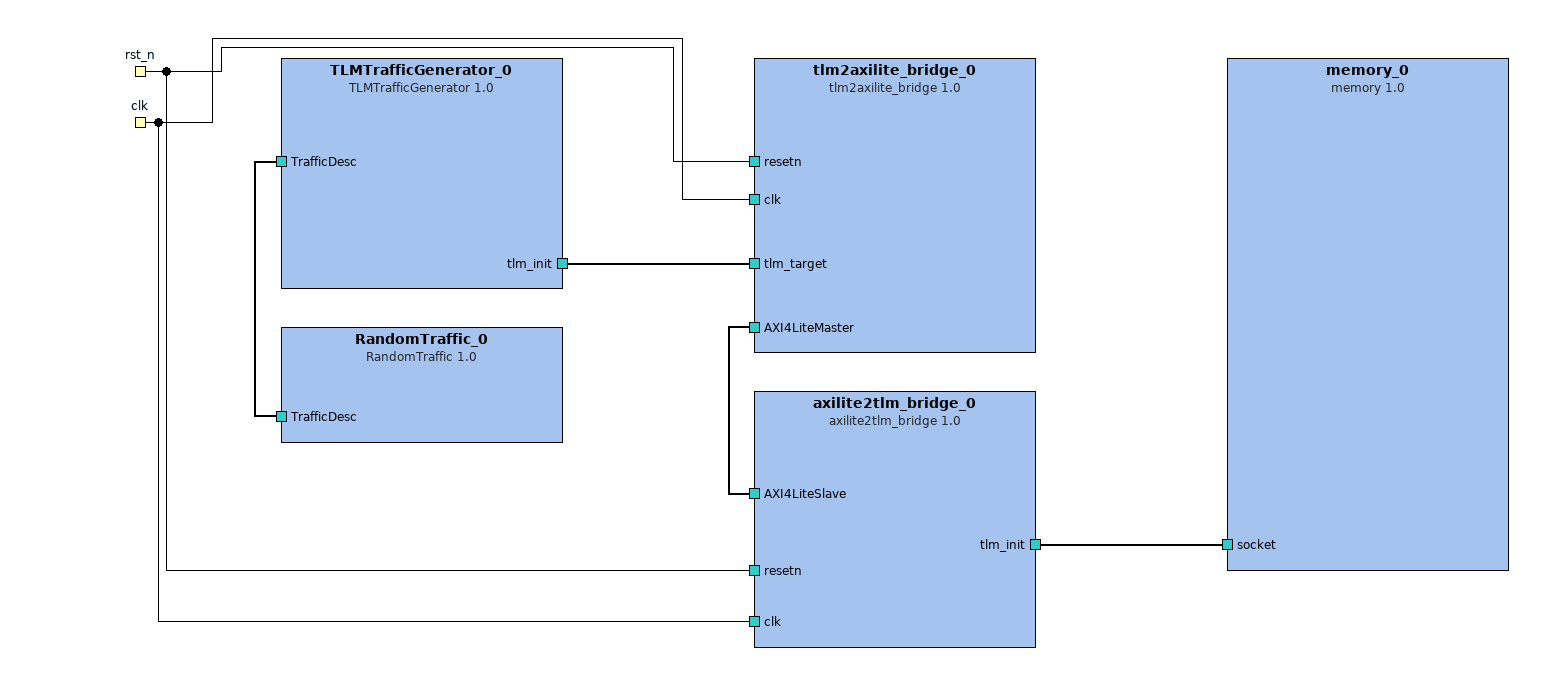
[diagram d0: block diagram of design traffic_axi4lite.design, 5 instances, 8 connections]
<?xml version="1.0" encoding="UTF-8"?>
<!-- // Copyright (c) 2019 Xilinx Inc.
// Written by Francisco Iglesias.
//
// Permission is hereby granted, free of charge, to any person obtaining a copy
// of this software and associated documentation files (the "Software"), to deal
// in the Software without restriction, including without limitation the rights
// to use, copy, modify, merge, publish, distribute, sublicense, and/or sell
// copies of the Software, and to permit persons to whom the Software is
// furnished to do so, subject to the following conditions:
//
// The above copyright notice and this permission notice shall be included in
// all copies or substantial portions of the Software.
//
// THE SOFTWARE IS PROVIDED "AS IS", WITHOUT WARRANTY OF ANY KIND, EXPRESS OR
// IMPLIED, INCLUDING BUT NOT LIMITED TO THE WARRANTIES OF MERCHANTABILITY,
// FITNESS FOR A PARTICULAR PURPOSE AND NONINFRINGEMENT. IN NO EVENT SHALL
// THE AUTHORS OR COPYRIGHT HOLDERS BE LIABLE FOR ANY CLAIM, DAMAGES OR OTHER
// LIABILITY, WHETHER IN AN ACTION OF CONTRACT, TORT OR OTHERWISE, ARISING FROM,
// OUT OF OR IN CONNECTION WITH THE SOFTWARE OR THE USE OR OTHER DEALINGS IN
// THE SOFTWARE. -->
<ipxact:design xmlns:xsi="http://www.w3.org/2001/XMLSchema-instance" xmlns:ipxact="http://www.accellera.org/XMLSchema/IPXACT/1685-2014" xmlns:kactus2="http://kactus2.cs.tut.fi" xsi:schemaLocation="http://www.accellera.org/XMLSchema/IPXACT/1685-2014 http://www.accellera.org/XMLSchema/IPXACT/1685-2014/index.xsd"><ipxact:vendor>xilinx.com</ipxact:vendor><ipxact:library>examples</ipxact:library><ipxact:name>traffic_axi4lite.design</ipxact:name>
 <ipxact:version>1.0</ipxact:version><ipxact:componentInstances>
 <ipxact:componentInstance><ipxact:instanceName>TLMTrafficGenerator_0</ipxact:instanceName><ipxact:componentRef vendor="xilinx.com" library="libsystemctlm-soc" name="TLMTrafficGenerator" version="1.0"/></ipxact:componentInstance>
 <ipxact:componentInstance><ipxact:instanceName>RandomTraffic_0</ipxact:instanceName><ipxact:componentRef vendor="xilinx.com" library="libsystemctlm-soc" name="RandomTraffic" version="1.0"/></ipxact:componentInstance>
 <ipxact:componentInstance><ipxact:instanceName>axilite2tlm_bridge_0</ipxact:instanceName>
  <ipxact:componentRef vendor="xilinx.com" library="libsystemctlm-soc" name="axilite2tlm_bridge" version="1.0"><ipxact:configurableElementValues><ipxact:configurableElementValue referenceId="ADDR_WIDTH">4</ipxact:configurableElementValue><ipxact:configurableElementValue referenceId="DATA_WIDTH">32</ipxact:configurableElementValue></ipxact:configurableElementValues></ipxact:componentRef>
 </ipxact:componentInstance>
 <ipxact:componentInstance><ipxact:instanceName>tlm2axilite_bridge_0</ipxact:instanceName>
  <ipxact:componentRef vendor="xilinx.com" library="libsystemctlm-soc" name="tlm2axilite_bridge" version="1.0"><ipxact:configurableElementValues><ipxact:configurableElementValue referenceId="ADDR_WIDTH">4</ipxact:configurableElementValue><ipxact:configurableElementValue referenceId="DATA_WIDTH">32</ipxact:configurableElementValue></ipxact:configurableElementValues></ipxact:componentRef>
 </ipxact:componentInstance>
 <ipxact:componentInstance><ipxact:instanceName>memory_0</ipxact:instanceName><ipxact:componentRef vendor="xilinx.com" library="libsystemctlm-soc" name="memory" version="1.0"/></ipxact:componentInstance>
</ipxact:componentInstances><ipxact:interconnections>
 <ipxact:interconnection><ipxact:name>RandomTraffic_0_TrafficDesc_to_TLMTrafficGenerator_0_TrafficDesc</ipxact:name><ipxact:activeInterface componentRef="RandomTraffic_0" busRef="TrafficDesc"/><ipxact:activeInterface componentRef="TLMTrafficGenerator_0" busRef="TrafficDesc"/></ipxact:interconnection>
 <ipxact:interconnection><ipxact:name>TLMTrafficGenerator_0_tlm_init_to_tlm2axilite_bridge_0_tlm_target</ipxact:name><ipxact:activeInterface componentRef="TLMTrafficGenerator_0" busRef="tlm_init"/><ipxact:activeInterface componentRef="tlm2axilite_bridge_0" busRef="tlm_target"/></ipxact:interconnection>
 <ipxact:interconnection><ipxact:name>tlm2axilite_bridge_0_AXI4LiteMaster_to_axilite2tlm_bridge_0_AXI4LiteSlave</ipxact:name><ipxact:activeInterface componentRef="tlm2axilite_bridge_0" busRef="AXI4LiteMaster"/><ipxact:activeInterface componentRef="axilite2tlm_bridge_0" busRef="AXI4LiteSlave"/></ipxact:interconnection>
 <ipxact:interconnection><ipxact:name>axilite2tlm_bridge_0_tlm_init_to_memory_0_socket</ipxact:name><ipxact:activeInterface componentRef="axilite2tlm_bridge_0" busRef="tlm_init"/><ipxact:activeInterface componentRef="memory_0" busRef="socket"/></ipxact:interconnection>
</ipxact:interconnections><ipxact:adHocConnections>
 <ipxact:adHocConnection><ipxact:name>axilite2tlm_bridge_0_resetn_to_rst_n</ipxact:name><ipxact:portReferences><ipxact:internalPortReference componentRef="axilite2tlm_bridge_0" portRef="resetn"/><ipxact:externalPortReference portRef="rst_n"/></ipxact:portReferences></ipxact:adHocConnection>
 <ipxact:adHocConnection><ipxact:name>axilite2tlm_bridge_0_clk_to_clk</ipxact:name><ipxact:portReferences><ipxact:internalPortReference componentRef="axilite2tlm_bridge_0" portRef="clk"/><ipxact:externalPortReference portRef="clk"/></ipxact:portReferences></ipxact:adHocConnection>
 <ipxact:adHocConnection><ipxact:name>tlm2axilite_bridge_0_resetn_to_rst_n</ipxact:name><ipxact:portReferences><ipxact:internalPortReference componentRef="tlm2axilite_bridge_0" portRef="resetn"/><ipxact:externalPortReference portRef="rst_n"/></ipxact:portReferences></ipxact:adHocConnection>
 <ipxact:adHocConnection><ipxact:name>tlm2axilite_bridge_0_clk_to_clk</ipxact:name><ipxact:portReferences><ipxact:internalPortReference componentRef="tlm2axilite_bridge_0" portRef="clk"/><ipxact:externalPortReference portRef="clk"/></ipxact:portReferences></ipxact:adHocConnection>
</ipxact:adHocConnections></ipxact:design>

